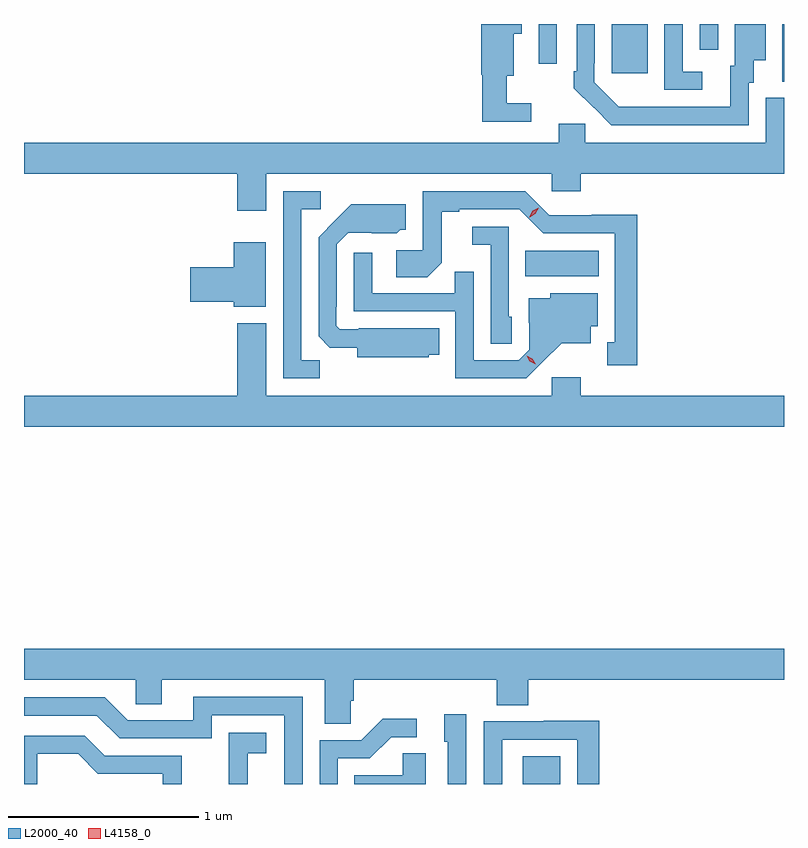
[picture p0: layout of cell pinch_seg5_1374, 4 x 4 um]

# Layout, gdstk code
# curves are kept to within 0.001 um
import gdstk
lib = gdstk.Library(unit=1e-6, precision=1e-09)
def R(c, l, rs):  # rectangles x0, y0, x1, y1
    for r in rs: c.add(gdstk.rectangle(r[:2], r[2:], *l))
def P(c, l, *ps):  # polygons
    for p in ps: c.add(gdstk.Polygon(p, *l))
L2000_40 = (2000, 40)
L4158_0 = (4158, 0)

pinch_seg5_1374 = lib.new_cell('pinch_seg5_1374')
R(pinch_seg5_1374, L2000_40, [(156.005,904.164,156.202,904.309), (156.016,906.836,156.403,906.97), (157.37,907.861,157.379,908.164), (156.473,907.905,156.661,908.164), (156.087,907.956,156.183,908.164), (156.936,908.028,157.032,908.164)])
P(pinch_seg5_1374, L2000_40, [(156.049,907.747),(155.92,907.747),(155.92,907.892),(155.956,907.892),(155.956,908.114),(155.998,908.114),(155.998,908.164),(155.786,908.164),(155.786,907.896),(155.791,907.896),(155.791,907.65),(156.049,907.65)],
  [(156.949,907.914),(156.846,907.914),(156.846,908.164),(156.75,908.164),(156.75,907.818),(156.949,907.818)],
  [(157.194,907.854),(157.219,907.854),(157.219,907.973),(157.282,907.973),(157.282,908.164),(157.121,908.164),(157.121,907.944),(157.097,907.944),(157.097,907.728),(156.51,907.729),(156.381,907.857),(156.381,907.957),(156.384,907.957),(156.384,908.164),(156.288,908.164),(156.288,907.915),(156.273,907.915),(156.273,907.827),(156.47,907.632),(157.194,907.632)],
  [(154.654,907.376),(156.156,907.376),(156.156,907.283),(156.308,907.283),(156.308,907.376),(157.379,907.376),(157.379,907.776),(157.283,907.776),(157.283,907.54),(156.333,907.54),(156.333,907.638),(156.194,907.638),(156.194,907.54),(153.379,907.54),(153.379,907.376),(154.502,907.376),(154.502,907.182),(154.654,907.182)],
  [(154.935,906.395),(154.839,906.395),(154.839,907.188),(154.942,907.188),(154.942,907.284),(154.743,907.284),(154.743,906.3),(154.935,906.3)],
  [(156.607,907.16),(156.366,907.16),(156.366,907.158),(156.144,907.158),(156.018,907.284),(155.478,907.284),(155.478,906.972),(155.337,906.972),(155.337,906.832),(155.501,906.832),(155.577,906.908),(155.577,907.176),(155.671,907.176),(155.671,907.188),(155.985,907.188),(156.111,907.062),(156.488,907.062),(156.488,906.489),(156.449,906.489),(156.449,906.369),(156.607,906.369)],
  [(155.508,906.422),(155.564,906.422),(155.564,906.562),(155.14,906.562),(155.14,906.558),(155.04,906.558),(155.022,906.576),(155.022,906.676),(155.025,906.676),(155.025,907.005),(155.085,907.065),(155.342,907.064),(155.358,907.08),(155.389,907.08),(155.389,907.216),(155.101,907.216),(154.929,907.042),(154.929,906.52),(154.988,906.461),(155.132,906.461),(155.132,906.41),(155.508,906.41)],
  [(155.946,906.624),(155.931,906.624),(155.931,907.098),(155.739,907.098),(155.739,907.001),(155.835,907.001),(155.835,906.481),(155.946,906.481)],
  [(154.651,907.015),(154.484,907.015),(154.484,906.884),(154.254,906.884),(154.254,906.701),(154.484,906.701),(154.484,906.677),(154.651,906.677)],
  [(156.106,906.383),(156.209,906.485),(156.361,906.485),(156.361,906.572),(156.4,906.572),(156.4,906.748),(156.15,906.748),(156.15,906.721),(156.035,906.721),(156.035,906.592),(156.039,906.592),(156.039,906.45),(155.982,906.393),(155.745,906.393),(155.745,906.86),(155.647,906.86),(155.647,906.747),(155.211,906.747),(155.211,906.961),(155.115,906.961),(155.115,906.651),(155.649,906.651),(155.649,906.3),(156.022,906.3)],
  [(157.379,906.208),(156.308,906.208),(156.308,906.304),(156.156,906.304),(156.156,906.208),(154.654,906.208),(154.654,906.589),(154.502,906.589),(154.502,906.208),(153.379,906.208),(153.379,906.044),(157.379,906.044)],
  [(153.379,904.712),(153.966,904.712),(153.966,904.585),(154.105,904.585),(154.105,904.712),(154.961,904.712),(154.961,904.48),(155.1,904.48),(155.1,904.603),(155.114,904.603),(155.114,904.712),(155.867,904.712),(155.867,904.579),(156.032,904.579),(156.032,904.712),(157.379,904.712),(157.379,904.876),(153.379,904.876)],
  [(154.845,904.623),(154.271,904.623),(154.271,904.5),(153.924,904.5),(153.804,904.62),(153.379,904.62),(153.379,904.524),(153.762,904.524),(153.882,904.404),(154.368,904.404),(154.368,904.527),(154.749,904.527),(154.749,904.164),(154.845,904.164)],
  [(155.706,904.531),(155.591,904.531),(155.591,904.386),(155.61,904.386),(155.61,904.164),(155.706,904.164)],
  [(155.031,904.299),(155.2,904.299),(155.311,904.41),(155.446,904.41),(155.446,904.508),(155.267,904.508),(155.154,904.395),(154.935,904.395),(154.935,904.164),(155.031,904.164)],
  [(155.895,904.398),(156.291,904.398),(156.291,904.164),(156.407,904.164),(156.407,904.496),(156.115,904.496),(156.115,904.494),(155.799,904.494),(155.799,904.164),(155.895,904.164)],
  [(154.556,904.325),(154.654,904.325),(154.654,904.435),(154.456,904.435),(154.456,904.229),(154.457,904.229),(154.457,904.164),(154.556,904.164)],
  [(153.45,904.322),(153.664,904.322),(153.768,904.218),(154.11,904.218),(154.11,904.164),(154.209,904.164),(154.209,904.314),(153.805,904.314),(153.7,904.419),(153.379,904.419),(153.379,904.164),(153.45,904.164)],
  [(155.494,904.325),(155.373,904.325),(155.373,904.21),(155.116,904.21),(155.116,904.164),(155.494,904.164)])
P(pinch_seg5_1374, L4158_0, [(156.039,907.147),(156.039,907.147),(156.057,907.18),(156.089,907.198),(156.089,907.198),(156.089,907.198),(156.071,907.166),(156.04,907.147)],
  [(156.072,906.373),(156.041,906.389),(156.024,906.418),(156.024,906.418),(156.024,906.418),(156.055,906.403),(156.072,906.374),(156.072,906.373)])

lib.write_gds('pinch_seg5_1374.gds')
